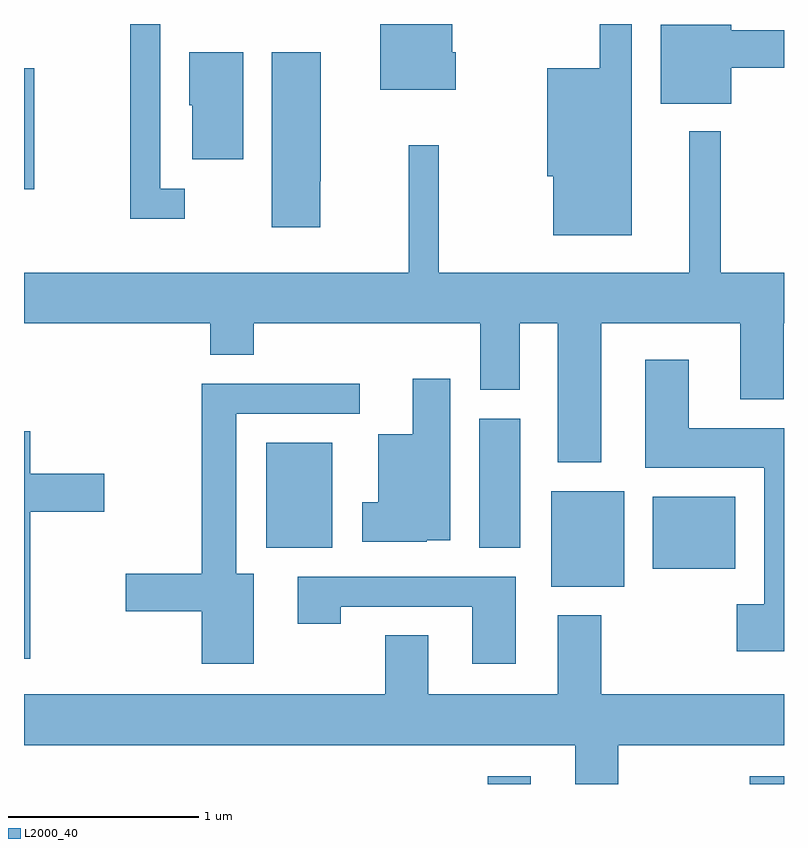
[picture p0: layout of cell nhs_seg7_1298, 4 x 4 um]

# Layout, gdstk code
import gdstk
lib = gdstk.Library(unit=1e-6, precision=1e-09)
def R(c, l, rs):  # rectangles x0, y0, x1, y1
    for r in rs: c.add(gdstk.rectangle(r[:2], r[2:], *l))
def P(c, l, *ps):  # polygons
    for p in ps: c.add(gdstk.Polygon(p, *l))
L2000_40 = (2000, 40)

nhs_seg7_1298 = lib.new_cell('nhs_seg7_1298')
R(nhs_seg7_1298, L2000_40, [(226.051,1796.252,226.279,1796.294), (227.431,1796.252,227.611,1796.294), (226.386,1797.291,226.769,1797.794), (226.921,1797.386,227.354,1797.764), (224.886,1797.496,225.234,1798.049), (226.006,1797.496,226.224,1798.174), (223.611,1799.381,223.664,1800.019)])
P(nhs_seg7_1298, L2000_40, [(225.884,1800.104),(225.864,1800.104),(225.864,1800.252),(225.486,1800.252),(225.486,1799.906),(225.884,1799.906)],
  [(226.809,1800.252),(226.641,1800.252),(226.641,1800.019),(226.366,1800.019),(226.366,1799.451),(226.396,1799.451),(226.396,1799.141),(226.809,1799.141)],
  [(224.458,1799.384),(224.329,1799.384),(224.329,1800.252),(224.171,1800.252),(224.171,1799.226),(224.458,1799.226)],
  [(227.334,1800.021),(227.611,1800.021),(227.611,1800.219),(227.334,1800.219),(227.334,1800.249),(226.961,1800.249),(226.961,1799.831),(227.334,1799.831)],
  [(225.169,1799.425),(225.174,1799.425),(225.174,1800.104),(224.916,1800.104),(224.916,1799.181),(225.169,1799.181)],
  [(224.764,1800.104),(224.481,1800.104),(224.481,1799.825),(224.496,1799.825),(224.496,1799.541),(224.764,1799.541)],
  [(227.381,1798.276),(227.609,1798.276),(227.609,1798.676),(227.611,1798.676),(227.611,1798.944),(227.279,1798.944),(227.279,1799.688),(227.111,1799.688),(227.111,1798.944),(225.794,1798.944),(225.794,1799.613),(225.636,1799.613),(225.636,1798.944),(223.611,1798.944),(223.611,1798.676),(224.591,1798.676),(224.591,1798.511),(224.819,1798.511),(224.819,1798.676),(226.011,1798.676),(226.011,1798.326),(226.219,1798.326),(226.219,1798.676),(226.421,1798.676),(226.421,1797.946),(226.649,1797.946),(226.649,1798.676),(227.381,1798.676)],
  [(227.611,1798.124),(227.109,1798.124),(227.109,1798.484),(226.881,1798.484),(226.881,1797.916),(227.506,1797.916),(227.506,1797.199),(227.361,1797.199),(227.361,1796.951),(227.611,1796.951)],
  [(225.73,1797.536),(225.854,1797.536),(225.854,1798.384),(225.656,1798.384),(225.656,1798.094),(225.476,1798.094),(225.476,1797.734),(225.391,1797.734),(225.391,1797.526),(225.73,1797.526)],
  [(224.819,1797.359),(224.729,1797.359),(224.729,1798.201),(225.378,1798.201),(225.378,1798.359),(224.546,1798.359),(224.546,1797.359),(224.146,1797.359),(224.146,1797.161),(224.546,1797.161),(224.546,1796.886),(224.819,1796.886)],
  [(223.644,1797.686),(224.034,1797.686),(224.034,1797.884),(223.644,1797.884),(223.644,1798.109),(223.611,1798.109),(223.611,1796.911),(223.644,1796.911)],
  [(226.199,1797.344),(225.051,1797.344),(225.051,1797.096),(225.279,1797.096),(225.279,1797.186),(225.971,1797.186),(225.971,1796.886),(226.199,1796.886)],
  [(226.739,1796.456),(227.611,1796.456),(227.611,1796.724),(226.649,1796.724),(226.649,1797.139),(226.421,1797.139),(226.421,1796.724),(225.739,1796.724),(225.739,1797.034),(225.511,1797.034),(225.511,1796.724),(223.611,1796.724),(223.611,1796.456),(226.511,1796.456),(226.511,1796.252),(226.739,1796.252)])

lib.write_gds('nhs_seg7_1298.gds')
